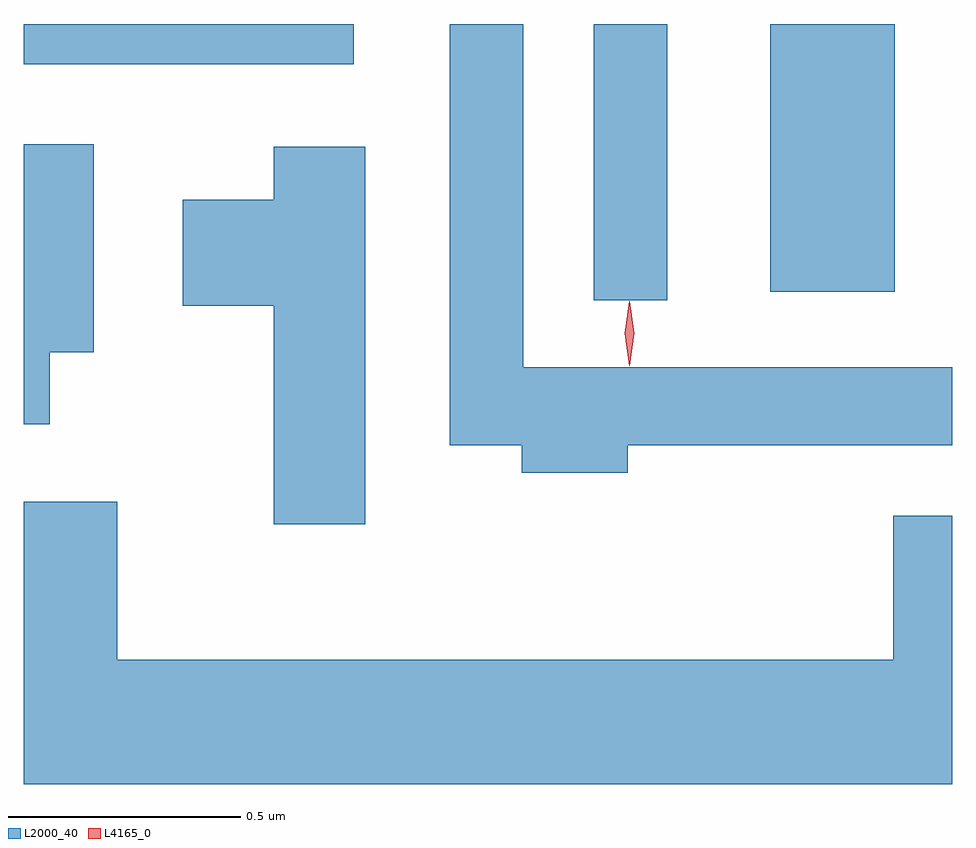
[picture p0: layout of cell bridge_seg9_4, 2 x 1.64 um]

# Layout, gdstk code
import gdstk
lib = gdstk.Library(unit=1e-6, precision=1e-09)
def R(c, l, rs):  # rectangles x0, y0, x1, y1
    for r in rs: c.add(gdstk.rectangle(r[:2], r[2:], *l))
def P(c, l, *ps):  # polygons
    for p in ps: c.add(gdstk.Polygon(p, *l))
L2000_40 = (2000, 40)
L4165_0 = (4165, 0)

bridge_seg9_4 = lib.new_cell('bridge_seg9_4')
R(bridge_seg9_4, L2000_40, [(1715.966,2055.018,1716.124,2055.613), (1716.346,2055.036,1716.614,2055.613), (1714.738,2055.526,1715.449,2055.613)])
P(bridge_seg9_4, L2000_40, [(1716.039,2054.706),(1716.738,2054.706),(1716.738,2054.874),(1715.814,2054.874),(1715.814,2055.613),(1715.656,2055.613),(1715.656,2054.706),(1715.811,2054.706),(1715.811,2054.646),(1716.039,2054.646)],
  [(1714.794,2054.906),(1714.889,2054.906),(1714.889,2055.354),(1714.738,2055.354),(1714.738,2054.751),(1714.794,2054.751)],
  [(1715.474,2055.349),(1715.276,2055.349),(1715.276,2055.234),(1715.081,2055.234),(1715.081,2055.006),(1715.276,2055.006),(1715.276,2054.536),(1715.474,2054.536)],
  [(1716.738,2054.554),(1716.611,2054.554),(1716.611,2054.244),(1714.939,2054.244),(1714.939,2054.584),(1714.738,2054.584),(1714.738,2053.976),(1716.738,2053.976)])
P(bridge_seg9_4, L4165_0, [(1716.042,2054.877),(1716.033,2054.947),(1716.042,2055.016),(1716.043,2055.016),(1716.043,2055.016),(1716.053,2054.947),(1716.043,2054.877),(1716.043,2054.877)])

lib.write_gds('bridge_seg9_4.gds')
